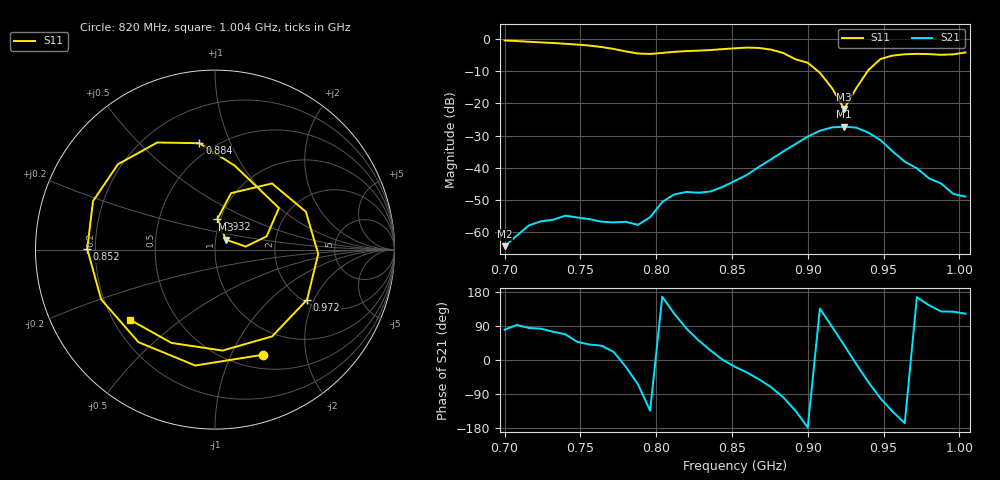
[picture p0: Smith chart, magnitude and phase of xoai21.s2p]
# Hz S RI R 50
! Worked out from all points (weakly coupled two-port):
!   39 points, 700 MHz to 1.004 GHz, reference 50 ohm
!   highest |S21| = -27.27 dB at 924 MHz (marker M1); lowest = -64.3 dB at 700 MHz (marker M2)
!   lowest |S11| = -21.7 dB at 924 MHz (marker M3), VSWR 1.18, Z = 56 + j6.25 ohm
!   |S11| at or under -10 dB: 906.6 MHz to 939.6 MHz (32.97 MHz wide, 3.57 % of centre)
!   S12 and S22 are empty: the file has one direction only
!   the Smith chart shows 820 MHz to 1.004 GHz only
!   S11 on the Smith chart (normalised r, x): 820 MHz: 0.67, -1.33; 852 MHz: 0.17, +0.00; 884 MHz: 0.42, +0.77; 932 MHz: 0.97, +0.34; 972 MHz: 2.10, -1.77; 1.004 GHz: 0.27, -0.34
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7e8  0.7624 0.5534  0.000106 0.000598  0 0  0 0
7.24e8  0.8425 -0.2474  0.000189 0.00147  0 0  0 0
7.4e8  0.4565 -0.7018  0.000678 0.00167  0 0  0 0
7.56e8  -0.1931 -0.7605  0.00121 0.00104  0 0  0 0
7.72e8  -0.6682 -0.1951  0.00132 0.000512  0 0  0 0
7.8e8  -0.5932 0.2312  0.00138 -0.00045  0 0  0 0
7.96e8  0.2506 0.5257  -0.00118 -0.00123  0 0  0 0
8.04e8  0.5788 0.169  -0.00287 0.000666  0 0  0 0
8.2e8  0.2675 -0.5857  0.000528 0.00418  0 0  0 0
8.36e8  -0.4265 -0.5157  0.0039 0.00178  0 0  0 0
8.52e8  -0.7119 0.00343  0.00597 -0.00193  0 0  0 0
8.68e8  -0.541 0.4753  0.0065 -0.00811  0 0  0 0
8.84e8  -0.0867 0.5928  -0.00294 -0.0177  0 0  0 0
9e8  0.3561 0.2318  -0.0304 -0.000875  0 0  0 0
9.08e8  0.2878 0.074  -0.0269 0.0261  0 0  0 0
9.24e8  0.0603 0.0554  0.0336 0.0274  0 0  0 0
9.32e8  0.0137 0.171  0.0411 -0.00797  0 0  0 0
9.48e8  0.3177 0.3685  -0.00525 -0.0262  0 0  0 0
9.56e8  0.5063 0.2111  -0.0129 -0.0124  0 0  0 0
9.72e8  0.5132 -0.2785  -0.00952 0.00241  0 0  0 0
9.88e8  0.0418 -0.5625  -0.00352 0.00448  0 0  0 0
1.004e9  -0.4746 -0.39  -0.0019 0.00302  0 0  0 0
